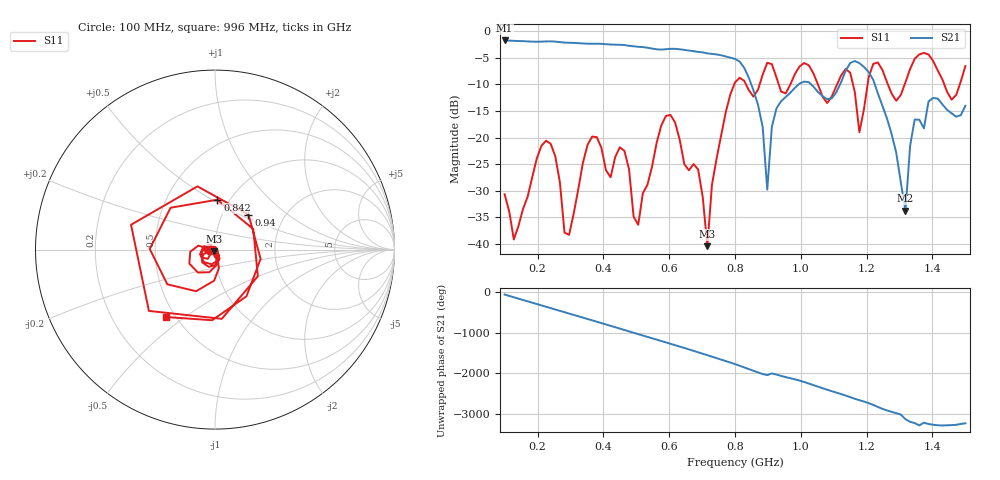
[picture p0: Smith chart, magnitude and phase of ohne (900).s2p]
! NanoVNA-App
! Date: 2025-09-25 14:27:48
! Start: 100MHz Stop: 1,5GHz Points: 101
! S-Parameter data: F S11 S21 S12 S22
# Hz S RI R 50
!  Frequency  S11_Real  S11_Imag  S21_Real  S21_Imag  S12_Real  S12_Imag  S22_Real  S22_Imag
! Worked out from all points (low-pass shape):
!   101 points, 100 MHz to 1.5 GHz, reference 50 ohm
!   highest |S21| = -1.79 dB at 100 MHz (marker M1); lowest = -33.7 dB at 1.318 GHz (marker M2)
!   |S21| within 3 dB of the highest: start of sweep to 772 MHz
!   lowest |S11| = -40.4 dB at 716 MHz (marker M3), VSWR 1.02, Z = 49.7 - j0.909 ohm
!   |S11| at or under -10 dB: start of sweep to 797.9 MHz; 833.1 MHz to 875.1 MHz (42.03 MHz wide, 4.92 % of centre); 1.052 GHz to 1.111 GHz (58.81 MHz wide, 5.44 % of centre) (the widest 3 of 7)
!   S12 and S22 are empty: the file has one direction only
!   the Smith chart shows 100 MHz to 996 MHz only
!   S11 on the Smith chart (normalised r, x): 100 MHz: 0.94, -0.01; 842 MHz: 0.88, +0.53; 940 MHz: 1.33, +0.56; 996 MHz: 0.45, -0.43
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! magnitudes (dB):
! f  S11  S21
! 100 MHz  -30.6  -1.8
! 128 MHz  -39.1  -1.9
! 226 MHz  -20.6  -2.0
! 296 MHz  -38.3  -2.2
! 338 MHz  -24.7  -2.4
! 464 MHz  -22.5  -2.7
! 506 MHz  -36.4  -3.0
! 576 MHz  -17.7  -3.5
! 688 MHz  -26.0  -3.9
! 716 MHz  -40.4  -4.2
! 800 MHz  -9.7  -5.3
! 842 MHz  -11.1  -8.8
! 898 MHz  -6.0  -29.8
! 940 MHz  -11.4  -13.2
! 996 MHz  -6.7  -9.9
! 1.038 GHz  -7.9  -10.4
! 1.178 GHz  -19.0  -6.1
! 1.22 GHz  -6.2  -9.2
! 1.276 GHz  -11.8  -19.4
! 1.318 GHz  -9.6  -33.7
! 1.346 GHz  -5.2  -16.6
! 1.5 GHz  -6.6  -14.1
